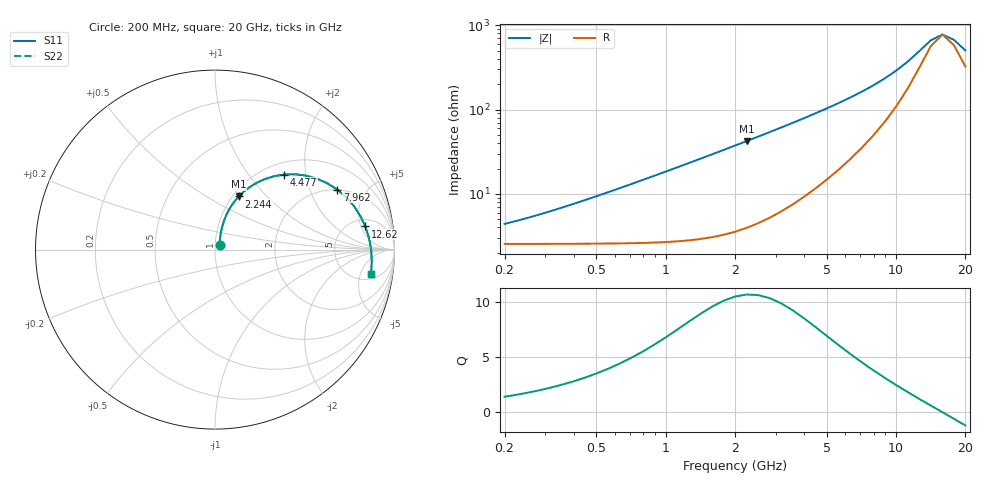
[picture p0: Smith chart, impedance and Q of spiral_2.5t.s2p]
# GHz S RI R 50
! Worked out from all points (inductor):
!   41 points, 200 MHz to 20 GHz, reference 50 ohm
!   read as 1/Y11, port 2 shorted: L = 2.87 nH near 447.7 MHz
!   highest Q = 10.6 at 2.244 GHz (marker M1), where L = 2.98 nH
!   self-resonance near 15.95 GHz
!   S11 on the Smith chart (normalised r, x): 200 MHz: 1.05, +0.06; 2.244 GHz: 1.07, +0.70; 4.477 GHz: 1.23, +1.52; 7.962 GHz: 1.98, +3.13; 12.62 GHz: 6.54, +5.99; 20 GHz: 6, -8
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0.2  0.0255 0.0275  0.9733 -0.0408  0.9733 -0.0408  0.0255 0.0275
0.3556559  0.0269 0.0491  0.9695 -0.0722  0.9695 -0.0722  0.0269 0.0491
0.5023773  0.0291 0.0694  0.964 -0.1013  0.964 -0.1013  0.0291 0.0694
0.7096268  0.0336 0.0984  0.9534 -0.1413  0.9534 -0.1413  0.0336 0.0984
0.8933672  0.0392 0.1241  0.9413 -0.1753  0.9413 -0.1753  0.0392 0.1241
1.124683  0.0487 0.1563  0.9231 -0.216  0.9231 -0.216  0.0487 0.1563
1.415892  0.0646 0.196  0.896 -0.2634  0.896 -0.2634  0.0646 0.196
1.782502  0.0909 0.2432  0.8565 -0.3167  0.8565 -0.3167  0.0909 0.2432
2.244037  0.1325 0.2961  0.8008 -0.3733  0.8008 -0.3733  0.1325 0.2961
2.825075  0.1946 0.3493  0.7252 -0.428  0.7252 -0.428  0.1946 0.3493
3.556559  0.2801 0.3939  0.6279 -0.4728  0.6279 -0.4728  0.2801 0.3939
4.477442  0.3871 0.4184  0.5114 -0.4973  0.5114 -0.4973  0.3871 0.4184
5.636766  0.507 0.412  0.3843 -0.4924  0.3843 -0.4924  0.507 0.412
7.096268  0.6261 0.3693  0.2597 -0.4536  0.2597 -0.4536  0.6261 0.3693
7.962143  0.6809 0.3347  0.2027 -0.4222  0.2027 -0.4222  0.6809 0.3347
10.02374  0.7734 0.2431  0.1065 -0.3401  0.1065 -0.3401  0.7734 0.2431
11.24683  0.8093 0.1884  0.0689 -0.2918  0.0689 -0.2918  0.8093 0.1884
12.61915  0.8374 0.1292  0.039 -0.2402  0.039 -0.2402  0.8374 0.1292
14.15892  0.8576 0.0665  0.017 -0.1867  0.017 -0.1867  0.8576 0.0665
15.88656  0.8697 0.00126  0.00295 -0.1321  0.00295 -0.1321  0.8697 0.00126
17.82502  0.8737 -0.0657  -0.00325 -0.0774  -0.00325 -0.0774  0.8737 -0.0657
20  0.8694 -0.1338  -0.00163 -0.0235  -0.00163 -0.0235  0.8694 -0.1338
